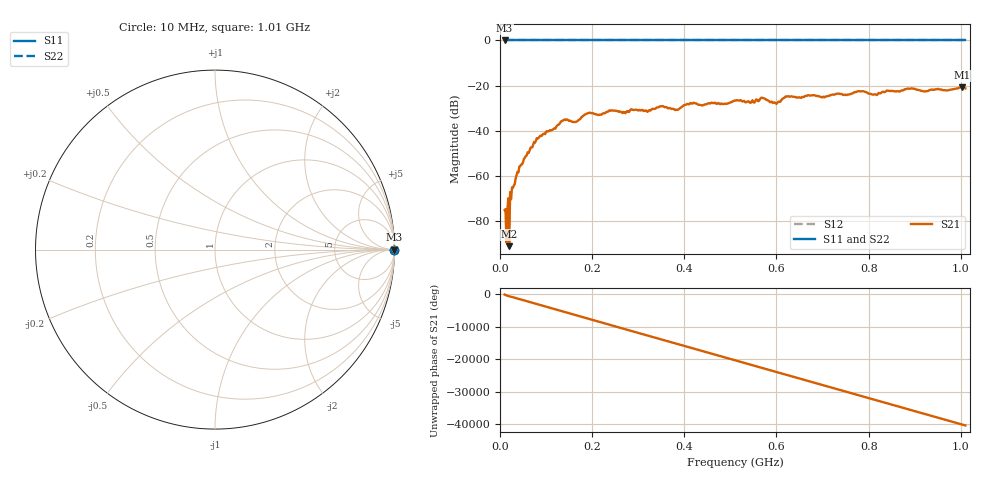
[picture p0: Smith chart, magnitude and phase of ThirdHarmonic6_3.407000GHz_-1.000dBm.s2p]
! 8/17/2025 10:53:57 AM
! C:\ANRITSUVNA\TEMP\TEMP.S2P
! CHANNEL.1
! TR.MEASUREMENT
! RAW.DATA
! RF.CORRECTION.OFF
! AVERAGING.OFF
! IF.BANDWIDTH: 5KHZ
! SWEEPTYPE:  FREQ.SWEEP(Linear)
! Reference Plane Port Info
! PORT:  PORT1  PORT2
! DISTANCE:  0  m  0  m
! TIME:  0  s  0  s
! PHASE.OFFSET:  0  deg.  0  deg.
! LOSS:  0  dB  0  dB
! REF.LOSS:  0  dB  0  dB
! REF.FREQ:  0  Hz  0  Hz
! Power Info
! POWER:  -20  dBm  -20  dBm
! EFF.POWER:  -20  dBm  -20  dBm
! SOURCE.ATTEN:  0  dB  0  dB
! TEST.ATTEN:  0  dB  0  dB
# GHZ S RI R 50.0
! FREQ.GHZ  S11RE  S11IM  S21RE  S21IM  S12RE  S12IM  S22RE  S22IM
!; PortSelection: Port_12
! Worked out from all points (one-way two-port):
!   501 points, 10 MHz to 1.01 GHz, reference 50 ohm
!   highest |S21| = -20.73 dB at 1.002 GHz (marker M1); lowest = -91.3 dB at 20 MHz (marker M2)
!   lowest |S11| = 0.0 dB at 10 MHz (marker M3)
!   |S11| at or under -10 dB: nowhere
!   |S22| runs from 0.0 to 0.0 dB; largest |S21 - S12| = 1.1
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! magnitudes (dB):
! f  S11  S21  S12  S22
! 10 MHz  0.0  -75.3  0.0  0.0
! 16 MHz  0.0  -75.2  0.0  0.0
! 20 MHz  0.0  -91.3  0.0  0.0
! 26 MHz  0.0  -65.2  0.0  0.0
! 40 MHz  0.0  -58.5  0.0  0.0
! 78 MHz  0.0  -44.5  0.0  0.0
! 136 MHz  0.0  -35.6  0.0  0.0
! 164 MHz  0.0  -36.2  0.0  0.0
! 178 MHz  0.0  -33.9  0.0  0.0
! 194 MHz  0.0  -32.1  0.0  0.0
! 322 MHz  0.0  -31.2  0.0  0.0
! 344 MHz  0.0  -29.7  0.0  0.0
! 384 MHz  0.0  -30.8  0.0  0.0
! 416 MHz  0.0  -28.0  0.0  0.0
! 510 MHz  0.0  -26.6  0.0  0.0
! 570 MHz  0.0  -25.5  0.0  0.0
! 596 MHz  0.0  -27.5  0.0  0.0
! 622 MHz  0.0  -24.9  0.0  0.0
! 678 MHz  0.0  -24.4  0.0  0.0
! 844 MHz  0.0  -22.4  0.0  0.0
! 1.002 GHz  0.0  -20.7  0.0  0.0
! 1.01 GHz  0.0  -21.3  0.0  0.0
